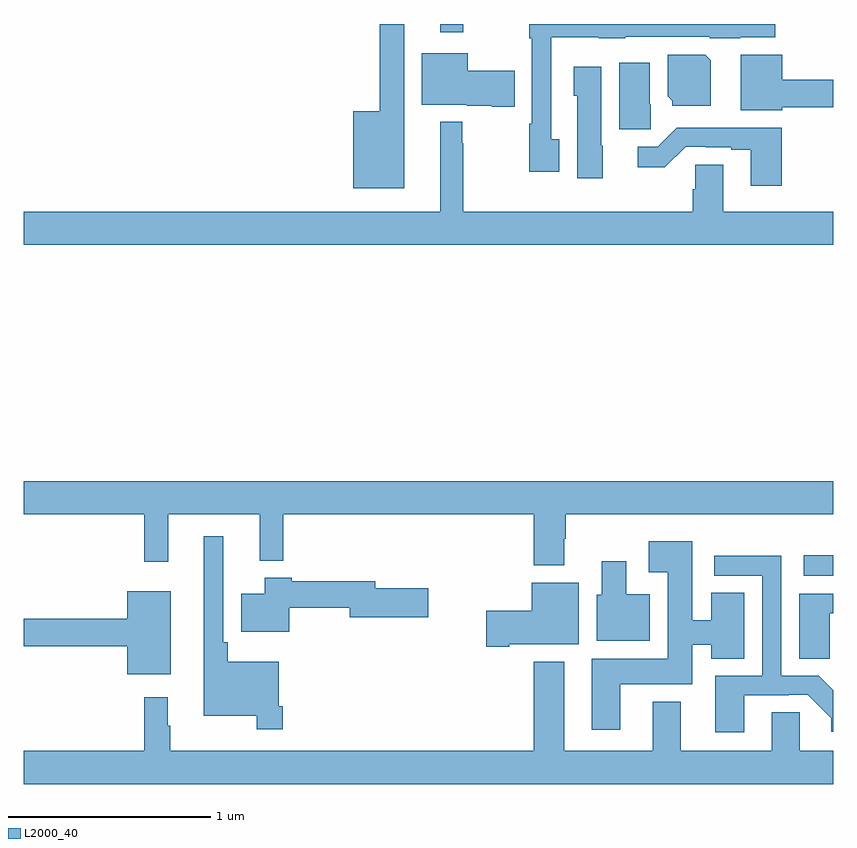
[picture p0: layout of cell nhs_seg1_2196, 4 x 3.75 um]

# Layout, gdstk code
import gdstk
lib = gdstk.Library(unit=1e-6, precision=1e-09)
def R(c, l, rs):  # rectangles x0, y0, x1, y1
    for r in rs: c.add(gdstk.rectangle(r[:2], r[2:], *l))
def P(c, l, *ps):  # polygons
    for p in ps: c.add(gdstk.Polygon(p, *l))
L2000_40 = (2000, 40)

nhs_seg1_2196 = lib.new_cell('nhs_seg1_2196')
R(nhs_seg1_2196, L2000_40, [(234.855,507.473,235,507.574), (233.057,510.159,233.171,510.199)])
P(nhs_seg1_2196, L2000_40, [(233.647,509.63),(233.607,509.63),(233.607,510.134),(233.841,510.134),(233.841,510.128),(233.973,510.128),(233.973,510.135),(234.39,510.135),(234.39,510.128),(234.54,510.128),(234.54,510.134),(234.712,510.134),(234.712,510.199),(233.499,510.199),(233.499,510.128),(233.511,510.128),(233.511,509.705),(233.499,509.705),(233.499,509.469),(233.647,509.469)],
  [(232.879,510.199),(232.758,510.199),(232.758,509.767),(232.628,509.767),(232.628,509.387),(232.879,509.387)],
  [(233.425,509.967),(233.194,509.967),(233.194,510.055),(232.967,510.055),(232.967,509.801),(233.19,509.801),(233.19,509.794),(233.312,509.794),(233.312,509.789),(233.425,509.789)],
  [(234.394,510.02),(234.368,510.046),(234.182,510.046),(234.182,509.842),(234.204,509.82),(234.204,509.795),(234.394,509.795)],
  [(234.748,509.788),(235,509.788),(235,509.924),(234.748,509.924),(234.748,510.046),(234.542,510.046),(234.542,509.774),(234.748,509.774)],
  [(234.098,509.802),(234.094,509.802),(234.094,510.007),(233.942,510.007),(233.942,509.679),(234.098,509.679)],
  [(233.86,509.598),(233.854,509.598),(233.854,509.989),(233.717,509.989),(233.717,509.844),(233.735,509.844),(233.735,509.436),(233.86,509.436)],
  [(235,509.272),(234.457,509.272),(234.457,509.504),(234.318,509.504),(234.318,509.382),(234.305,509.382),(234.305,509.272),(233.171,509.272),(233.171,509.609),(233.167,509.609),(233.167,509.716),(233.057,509.716),(233.057,509.272),(231,509.272),(231,509.108),(235,509.108)],
  [(234.746,509.686),(234.226,509.686),(234.132,509.592),(234.033,509.592),(234.033,509.49),(234.168,509.49),(234.27,509.592),(234.37,509.592),(234.37,509.589),(234.497,509.589),(234.497,509.577),(234.593,509.577),(234.593,509.4),(234.746,509.4)],
  [(231,507.776),(231.595,507.776),(231.595,507.543),(231.713,507.543),(231.713,507.776),(232.166,507.776),(232.166,507.548),(232.283,507.548),(232.283,507.776),(233.519,507.776),(233.519,507.524),(233.671,507.524),(233.671,507.656),(233.679,507.656),(233.679,507.776),(235,507.776),(235,507.94),(231,507.94)],
  [(232.28,506.827),(232.26,506.827),(232.26,507.049),(232.007,507.049),(232.007,507.145),(231.987,507.145),(231.987,507.667),(231.89,507.667),(231.89,506.78),(232.152,506.78),(232.152,506.715),(232.28,506.715)],
  [(233.947,506.936),(234.304,506.936),(234.304,507.131),(234.398,507.131),(234.398,507.064),(234.559,507.064),(234.559,507.389),(234.398,507.389),(234.398,507.253),(234.304,507.253),(234.304,507.643),(234.087,507.643),(234.087,507.491),(234.182,507.491),(234.182,507.064),(233.807,507.064),(233.807,506.712),(233.947,506.712)],
  [(234.559,506.883),(234.779,506.883),(234.779,506.886),(234.873,506.886),(234.989,506.77),(234.989,506.702),(235,506.702),(235,506.907),(234.928,506.979),(234.744,506.979),(234.744,507.572),(234.411,507.572),(234.411,507.474),(234.648,507.474),(234.648,506.979),(234.416,506.979),(234.416,506.7),(234.559,506.7)],
  [(234.094,507.382),(233.977,507.382),(233.977,507.544),(233.855,507.544),(233.855,507.378),(233.831,507.378),(233.831,507.152),(234.094,507.152)],
  [(232.312,507.316),(232.61,507.316),(232.61,507.269),(232.999,507.269),(232.999,507.411),(232.738,507.411),(232.738,507.445),(232.325,507.445),(232.325,507.463),(232.19,507.463),(232.19,507.385),(232.076,507.385),(232.076,507.197),(232.312,507.197)],
  [(233.398,507.134),(233.743,507.134),(233.743,507.439),(233.51,507.439),(233.51,507.3),(233.286,507.3),(233.286,507.122),(233.398,507.122)],
  [(231.727,507.397),(231.512,507.397),(231.512,507.26),(231,507.26),(231,507.124),(231.512,507.124),(231.512,506.987),(231.727,506.987)],
  [(234.982,507.288),(235,507.288),(235,507.384),(234.833,507.384),(234.833,507.064),(234.982,507.064)],
  [(235,506.608),(234.834,506.608),(234.834,506.798),(234.695,506.798),(234.695,506.608),(234.247,506.608),(234.247,506.851),(234.107,506.851),(234.107,506.608),(233.671,506.608),(233.671,507.049),(233.519,507.049),(233.519,506.608),(231.724,506.608),(231.724,506.732),(231.712,506.732),(231.712,506.872),(231.595,506.872),(231.595,506.608),(231,506.608),(231,506.444),(235,506.444)])

lib.write_gds('nhs_seg1_2196.gds')
